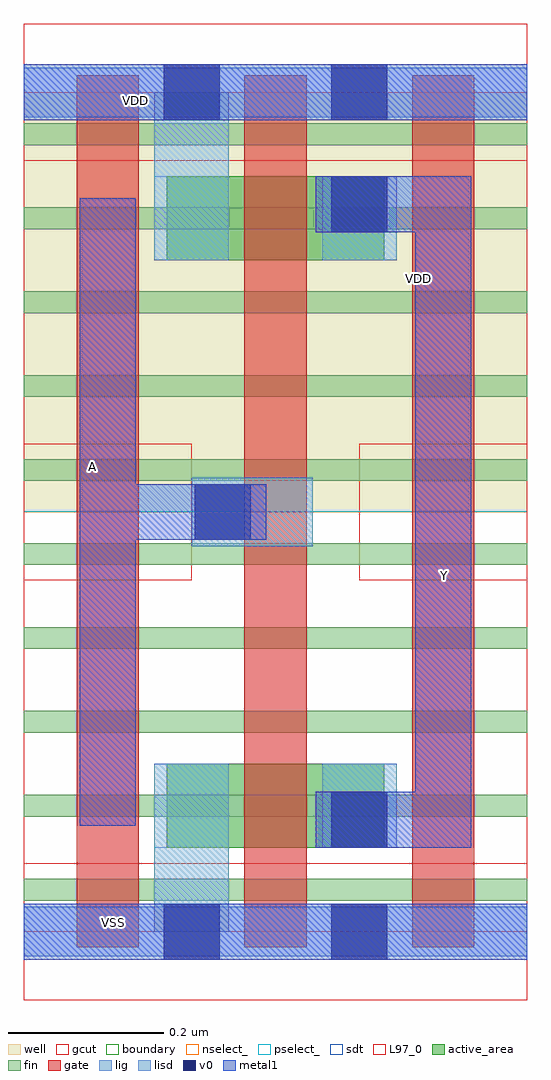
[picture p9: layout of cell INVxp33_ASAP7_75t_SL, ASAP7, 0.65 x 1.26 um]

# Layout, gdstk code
import gdstk
lib = gdstk.Library(unit=1e-6, precision=2.5e-10)
def R(c, l, rs):  # rectangles x0, y0, x1, y1
    for r in rs: c.add(gdstk.rectangle(r[:2], r[2:], *l))
def A(c, l, x, y, w, h, nx, ny, dx, dy):  # array of equal rectangles
    R(c, l, [(x+i*dx, y+j*dy, x+i*dx+w, y+j*dy+h) for i in range(nx) for j in range(ny)])
def P(c, l, *ps):  # polygons
    for p in ps: c.add(gdstk.Polygon(p, *l))
well = (1, 0)
fin = (2, 0)
gate = (7, 0)
gcut = (10, 0)
active_area = (11, 0)
nselect_ = (12, 0)
pselect_ = (13, 0)
lig = (16, 0)
lisd = (17, 0)
v0 = (18, 0)
metal1 = (19, 0)
sdt = (88, 0)
L97_0 = (97, 0)
boundary = (100, 0)

invxp33_asap7_75t_sl = lib.new_cell('INVxp33_ASAP7_75t_SL')
R(invxp33_asap7_75t_sl, well, [(0,0.54,0.648,1.08)])
A(invxp33_asap7_75t_sl, fin, 0, 0.04, 0.648, 0.028, 1, 10, 0, 0.108)
A(invxp33_asap7_75t_sl, gate, 0.068, -0.02, 0.08, 1.122, 3, 1, 0.216, 0)
R(invxp33_asap7_75t_sl, gcut, [(0,-0.088,0.648,0.088), (0,0.452,0.216,0.628), (0.432,0.452,0.648,0.628), (0,0.992,0.648,1.168)])
R(invxp33_asap7_75t_sl, active_area, [(0.184,0.108,0.464,0.216), (0.184,0.864,0.464,0.972)])
R(invxp33_asap7_75t_sl, nselect_, [(0,0,0.648,0.54)])
R(invxp33_asap7_75t_sl, pselect_, [(0,0.54,0.648,1.08)])
R(invxp33_asap7_75t_sl, lig, [(0,-0.032,0.648,0.032), (0.216,0.496,0.372,0.584), (0,1.048,0.648,1.112)])
R(invxp33_asap7_75t_sl, lisd, [(0.168,0,0.264,0.216), (0.384,0.108,0.48,0.216), (0.168,0.864,0.264,1.08), (0.384,0.864,0.48,0.972)])
R(invxp33_asap7_75t_sl, v0, [(0.18,-0.036,0.252,0.036), (0.396,-0.036,0.468,0.036), (0.396,0.108,0.468,0.18), (0.22,0.504,0.292,0.576), (0.396,0.9,0.468,0.972), (0.18,1.044,0.252,1.116), (0.396,1.044,0.468,1.116)])
R(invxp33_asap7_75t_sl, metal1, [(0,-0.036,0.648,0.036), (0,1.044,0.648,1.116)])
P(invxp33_asap7_75t_sl, metal1, [(0.312,0.576),(0.144,0.576),(0.144,0.944),(0.072,0.944),(0.072,0.136),(0.144,0.136),(0.144,0.504),(0.312,0.504)],
  [(0.576,0.972),(0.376,0.972),(0.376,0.9),(0.504,0.9),(0.504,0.18),(0.376,0.18),(0.376,0.108),(0.576,0.108)])
R(invxp33_asap7_75t_sl, sdt, [(0.168,0.108,0.264,0.216), (0.384,0.108,0.48,0.216), (0.168,0.864,0.264,0.972), (0.384,0.864,0.48,0.972)])
R(invxp33_asap7_75t_sl, L97_0, [(0,0,0.648,1.08)])
R(invxp33_asap7_75t_sl, boundary, [(0,0,0.648,1.08)])
invxp33_asap7_75t_sl.add(gdstk.Label('VSS', (0.116,0.012), layer=19, texttype=251))
invxp33_asap7_75t_sl.add(gdstk.Label('VDD', (0.144,1.07), layer=19, texttype=251))
invxp33_asap7_75t_sl.add(gdstk.Label('A', (0.088,0.598), layer=19, texttype=251))
invxp33_asap7_75t_sl.add(gdstk.Label('Y', (0.542,0.458), layer=19, texttype=251))
invxp33_asap7_75t_sl.add(gdstk.Label('VDD', (0.508,0.84), layer=1, texttype=251))
invxp33_asap7_75t_sl.add(gdstk.Label('VSS', (0.784,0.836), layer=3, texttype=251))

lib.write_gds('INVxp33_ASAP7_75t_SL.gds')
